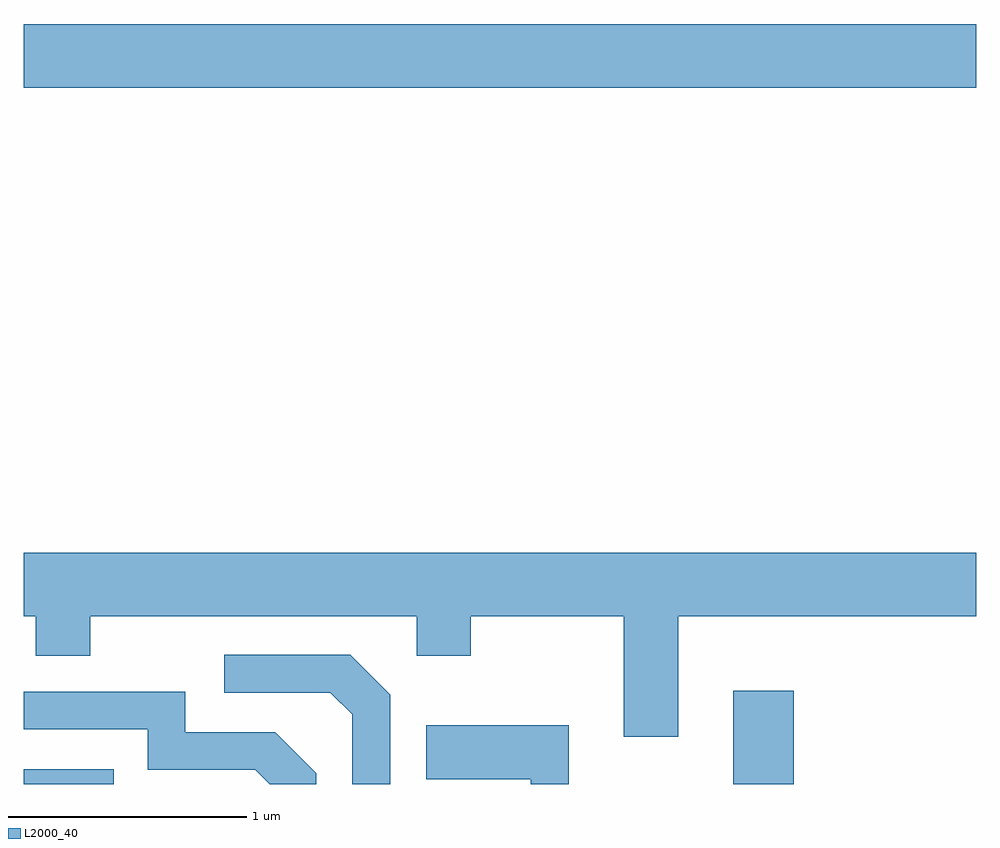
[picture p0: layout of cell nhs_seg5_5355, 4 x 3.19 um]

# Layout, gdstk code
import gdstk
lib = gdstk.Library(unit=1e-6, precision=1e-09)
def R(c, l, rs):  # rectangles x0, y0, x1, y1
    for r in rs: c.add(gdstk.rectangle(r[:2], r[2:], *l))
def P(c, l, *ps):  # polygons
    for p in ps: c.add(gdstk.Polygon(p, *l))
L2000_40 = (2000, 40)

nhs_seg5_5355 = lib.new_cell('nhs_seg5_5355')
R(nhs_seg5_5355, L2000_40, [(343.611,1476.072,343.988,1476.134), (346.591,1476.072,346.844,1476.464), (343.611,1478.996,347.611,1479.264)])
P(nhs_seg5_5355, L2000_40, [(346.359,1476.776),(347.611,1476.776),(347.611,1477.044),(343.611,1477.044),(343.611,1476.776),(343.661,1476.776),(343.661,1476.611),(343.889,1476.611),(343.889,1476.776),(345.261,1476.776),(345.261,1476.611),(345.489,1476.611),(345.489,1476.776),(346.131,1476.776),(346.131,1476.271),(346.359,1476.271)],
  [(345.149,1476.447),(344.982,1476.614),(344.453,1476.614),(344.453,1476.456),(344.899,1476.456),(344.991,1476.364),(344.991,1476.072),(345.149,1476.072)],
  [(344.839,1476.117),(344.667,1476.289),(344.289,1476.289),(344.289,1476.459),(343.611,1476.459),(343.611,1476.301),(344.131,1476.301),(344.131,1476.131),(344.584,1476.131),(344.643,1476.072),(344.839,1476.072)],
  [(345.899,1476.319),(345.301,1476.319),(345.301,1476.091),(345.741,1476.091),(345.741,1476.072),(345.899,1476.072)])

lib.write_gds('nhs_seg5_5355.gds')
